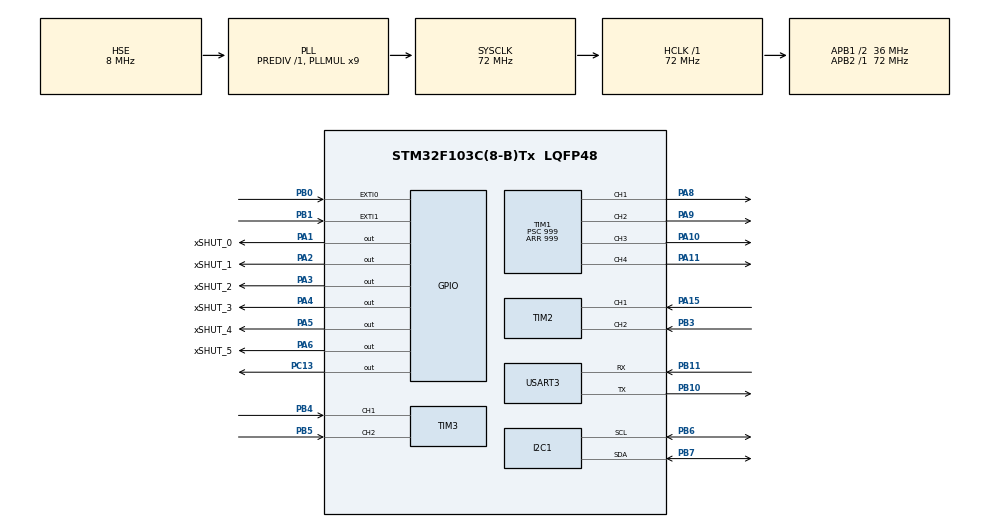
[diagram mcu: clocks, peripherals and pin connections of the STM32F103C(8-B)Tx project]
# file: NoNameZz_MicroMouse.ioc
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Mcu.Family=STM32F1
Mcu.Name=STM32F103C(8-B)Tx
Mcu.Package=LQFP48
NVIC.EXTI0_IRQn=true\:0\:0\:false\:false\:true\:true\:true\:true
NVIC.EXTI1_IRQn=true\:0\:0\:false\:false\:true\:true\:true\:true
NVIC.PriorityGroup=NVIC_PRIORITYGROUP_4
NVIC.TIM2_IRQn=true\:0\:0\:false\:false\:true\:true\:true\:true
NVIC.TIM3_IRQn=true\:0\:0\:false\:false\:true\:true\:true\:true
PA1.GPIO_Label=xSHUT_0
PA1.GPIO_PuPd=GPIO_PULLUP
PA1.Signal=GPIO_Output
PA10.Signal=S_TIM1_CH3
PA11.Signal=S_TIM1_CH4
PA13.Mode=Serial_Wire
PA13.Signal=SYS_JTMS-SWDIO
PA14.Mode=Serial_Wire
PA14.Signal=SYS_JTCK-SWCLK
PA15.GPIO_ModeDefaultPP=GPIO_MODE_AF_PP
PA15.GPIO_Speed=GPIO_SPEED_FREQ_LOW
PA15.Signal=S_TIM2_CH1_ETR
PA2.GPIO_Label=xSHUT_1
PA2.GPIO_PuPd=GPIO_PULLUP
PA2.Signal=GPIO_Output
PA3.GPIO_Label=xSHUT_2
PA3.GPIO_PuPd=GPIO_PULLUP
PA3.Signal=GPIO_Output
PA4.GPIO_Label=xSHUT_3
PA4.GPIO_PuPd=GPIO_PULLUP
PA4.Signal=GPIO_Output
PA5.GPIO_Label=xSHUT_4
PA5.GPIO_PuPd=GPIO_PULLUP
PA5.Signal=GPIO_Output
PA6.GPIO_Label=xSHUT_5
PA6.GPIO_PuPd=GPIO_PULLUP
PA6.Signal=GPIO_Output
PA8.Signal=S_TIM1_CH1
PA9.Signal=S_TIM1_CH2
PB0.GPIO_ModeDefaultEXTI=GPIO_MODE_IT_FALLING
PB0.GPIO_PuPd=GPIO_PULLUP
PB0.Signal=GPXTI0
PB1.GPIO_ModeDefaultEXTI=GPIO_MODE_IT_FALLING
PB1.GPIO_PuPd=GPIO_PULLUP
PB1.Signal=GPXTI1
PB10.Mode=Asynchronous
PB10.Signal=USART3_TX
PB11.Mode=Asynchronous
PB11.Signal=USART3_RX
PB3.GPIO_ModeDefaultPP=GPIO_MODE_AF_PP
PB3.GPIO_Speed=GPIO_SPEED_FREQ_LOW
PB3.Signal=S_TIM2_CH2
PB4.Signal=S_TIM3_CH1
PB5.Signal=S_TIM3_CH2
PB6.Mode=I2C
PB6.Signal=I2C1_SCL
PB7.Mode=I2C
PB7.Signal=I2C1_SDA
PC13-TAMPER-RTC.Signal=GPIO_Output
PD0-OSC_IN.Mode=HSE-External-Oscillator
PD0-OSC_IN.Signal=RCC_OSC_IN
PD1-OSC_OUT.Mode=HSE-External-Oscillator
PD1-OSC_OUT.Signal=RCC_OSC_OUT
ProjectManager.HeapSize=0x200
ProjectManager.StackSize=0x400
ProjectManager.TargetToolchain=STM32CubeIDE
RCC.ADCPresc=RCC_ADCPCLK2_DIV6
RCC.AHBFreq_Value=72000000
RCC.APB1CLKDivider=RCC_HCLK_DIV2
RCC.APB1Freq_Value=36000000
RCC.APB1TimFreq_Value=72000000
RCC.APB2Freq_Value=72000000
RCC.APB2TimFreq_Value=72000000
RCC.HCLKFreq_Value=72000000
RCC.PLLMUL=RCC_PLL_MUL9
RCC.PLLSourceVirtual=RCC_PLLSOURCE_HSE
RCC.SYSCLKFreq_VALUE=72000000
RCC.SYSCLKSource=RCC_SYSCLKSOURCE_PLLCLK
RCC.USBFreq_Value=72000000
SH.S_TIM1_CH1.0=TIM1_CH1,PWM Generation1 CH1
SH.S_TIM1_CH2.0=TIM1_CH2,PWM Generation2 CH2
SH.S_TIM1_CH3.0=TIM1_CH3,PWM Generation3 CH3
SH.S_TIM1_CH4.0=TIM1_CH4,PWM Generation4 CH4
SH.S_TIM2_CH1_ETR.0=TIM2_CH1,Encoder_Interface
SH.S_TIM2_CH2.0=TIM2_CH2,Encoder_Interface
SH.S_TIM3_CH1.0=TIM3_CH1,Encoder_Interface
SH.S_TIM3_CH2.0=TIM3_CH2,Encoder_Interface
TIM1.AutoReloadPreload=TIM_AUTORELOAD_PRELOAD_ENABLE
TIM1.Channel-PWM\ Generation1\ CH1=TIM_CHANNEL_1
TIM1.Channel-PWM\ Generation2\ CH2=TIM_CHANNEL_2
TIM1.Channel-PWM\ Generation3\ CH3=TIM_CHANNEL_3
TIM1.Channel-PWM\ Generation4\ CH4=TIM_CHANNEL_4
TIM1.Period=999
TIM1.Prescaler=999
TIM2.ClockDivision=TIM_CLOCKDIVISION_DIV1
TIM2.EncoderMode=TIM_ENCODERMODE_TI1
TIM2.IC1Filter=0
TIM2.IC2Filter=0
TIM2.IC2Prescaler=TIM_ICPSC_DIV1
TIM3.ClockDivision=TIM_CLOCKDIVISION_DIV1
TIM3.CounterMode=TIM_COUNTERMODE_UP
TIM3.EncoderMode=TIM_ENCODERMODE_TI1
TIM3.IC1Filter=0
TIM3.IC2Filter=0
USART3.VirtualMode=VM_ASYNC
VP_TIM1_VS_ClockSourceINT.Mode=Internal
board=custom

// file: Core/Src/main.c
/* USER CODE BEGIN Header */
/**
 ******************************************************************************
 * @file           : main.c
 * @brief          : Main program body
 ******************************************************************************
 * @attention
 *
 * Copyright (c) 2023 STMicroelectronics.
 * All rights reserved.
 *
 * This software is licensed under terms that can be found in the LICENSE file
 * in the root directory of this software component.
 * If no LICENSE file comes with this software, it is provided AS-IS.
 *
 ******************************************************************************
 */
/* USER CODE END Header */
#include "main.h"

I2C_HandleTypeDef hi2c1;

TIM_HandleTypeDef htim1;
TIM_HandleTypeDef htim2;
TIM_HandleTypeDef htim3;

UART_HandleTypeDef huart3;

void SystemClock_Config(void);
static void MX_GPIO_Init(void);
static void MX_TIM1_Init(void);
static void MX_TIM2_Init(void);
static void MX_TIM3_Init(void);
static void MX_I2C1_Init(void);
static void MX_USART3_UART_Init(void);
/* USER CODE BEGIN PFP */
#define running_left_motor(mode, speed){\
	if(mode == 0){ \
		__HAL_TIM_SET_COMPARE(&htim1, TIM_CHANNEL_3, 0); \
		__HAL_TIM_SET_COMPARE(&htim1, TIM_CHANNEL_4, speed); \
	} else { \
		__HAL_TIM_SET_COMPARE(&htim1, TIM_CHANNEL_3, speed); \
		__HAL_TIM_SET_COMPARE(&htim1, TIM_CHANNEL_4, 0); \
	} \
}

#define running_right_motor(mode, speed) \
	if(mode == 0){ \
		__HAL_TIM_SET_COMPARE(&htim1, TIM_CHANNEL_1, speed); \
		__HAL_TIM_SET_COMPARE(&htim1, TIM_CHANNEL_2, 0); \
	} else { \
		__HAL_TIM_SET_COMPARE(&htim1, TIM_CHANNEL_1, 0); \
		__HAL_TIM_SET_COMPARE(&htim1, TIM_CHANNEL_2, speed); \
	\
}
/* USER CODE END PFP */

/* USER CODE BEGIN 0 */
const uint8_t starting_coordinates[2] = { 5, 9 }; //{5, 9}
const uint8_t ending_coordinates[2] = { 5, 2 }; //{4, 0}
const int32_t speed_levels[3][2] = {{0, 0}, {550, 600}, {700, 750}};
double P_params[3][2] = {{0, 0}, {1, 5}, {1, 5}};
uint8_t maze[grid_size][grid_size];
bool visited[grid_size][grid_size];

volatile uint8_t current_speed;
volatile uint8_t Rmode;
volatile int8_t status;
uint8_t found_path;
int a, b, c, d, e;
int t1, t2, t3, t4;
uint16_t ts1, ts2, ts3, ts4, ts5, ts6;
uint8_t uart_buffer[50];
uint32_t aaaa;

volatile int8_t status_debug;
const int32_t offset_sensor[n_vl53l0x] = {0, 0, 0, -20000, 10000, 0};
VL53L0X_Dev_t MyDevice[n_vl53l0x];
VL53L0X_Dev_t *pMyDevice[n_vl53l0x];
VL53L0X_Version_t Version[n_vl53l0x];
VL53L0X_Version_t *pVersion[n_vl53l0x];
VL53L0X_DeviceInfo_t DeviceInfo[n_vl53l0x];

void sensor_init(){
	HAL_GPIO_WritePin(GPIOA, xSHUT_0_Pin|xSHUT_1_Pin|xSHUT_2_Pin|xSHUT_3_Pin
            |xSHUT_4_Pin|xSHUT_5_Pin, GPIO_PIN_RESET);
	HAL_Delay(100);
	uint8_t addr = 0x54;
	for(int i = 0 ; i < n_vl53l0x; i++){
		pMyDevice[i] = &MyDevice[i];
		pMyDevice[i]->I2cDevAddr      = 0x52;
		pMyDevice[i]->comms_type      =  1;
		pMyDevice[i]->comms_speed_khz =  100;
		pMyDevice[i]->I2cHandle = &hi2c1;
		pVersion[i] = &Version[i];
		HAL_GPIO_WritePin(GPIOA, ((uint16_t)0x0002) << i, GPIO_PIN_SET);
		HAL_Delay(10);
		status_debug = vl53l0x_init(pMyDevice[i], pVersion[i], &DeviceInfo[i], addr);
		VL53L0X_SetOffsetCalibrationDataMicroMeter(pMyDevice[i], offset_sensor[i]);
		HAL_Delay(10);
		addr+=2;
		if(status_debug != VL53L0X_ERROR_NONE)
			break;
	}
}

/* USER CODE END 0 */

int main(void)
{

  /* MCU Configuration--------------------------------------------------------*/

  /* Reset of all peripherals, Initializes the Flash interface and the Systick. */
  HAL_Init();

  /* Configure the system clock */
  SystemClock_Config();

  /* Initialize all configured peripherals */
  MX_GPIO_Init();
  MX_TIM1_Init();
  MX_TIM2_Init();
  MX_TIM3_Init();
  MX_I2C1_Init();
  MX_USART3_UART_Init();
  /* USER CODE BEGIN 2 */
  	HAL_TIM_PWM_Start(&htim1, TIM_CHANNEL_1);
  	HAL_TIM_PWM_Start(&htim1, TIM_CHANNEL_2);
  	HAL_TIM_PWM_Start(&htim1, TIM_CHANNEL_3);
  	HAL_TIM_PWM_Start(&htim1, TIM_CHANNEL_4);
  	HAL_TIM_Encoder_Start(&htim2, TIM_CHANNEL_ALL);
  	HAL_TIM_Base_Start_IT(&htim2);
  	HAL_TIM_Encoder_Start(&htim3, TIM_CHANNEL_ALL);
  	HAL_TIM_Base_Start_IT(&htim3);
	HAL_Delay(2000);

	Rmode = 0;
	status = 0;
	__HAL_TIM_SET_COMPARE(&htim1, TIM_CHANNEL_1, htim1.Init.Period);
	__HAL_TIM_SET_COMPARE(&htim1, TIM_CHANNEL_2, htim1.Init.Period);
	__HAL_TIM_SET_COMPARE(&htim1, TIM_CHANNEL_3, htim1.Init.Period);
	__HAL_TIM_SET_COMPARE(&htim1, TIM_CHANNEL_4, htim1.Init.Period);
	#if debug == 1
		sprintf((char*)uart_buffer, "uart send data\n");
		HAL_UART_Transmit(&huart3, uart_buffer, sizeof (uart_buffer), 10);
	#endif
	HAL_Delay(2000);
	sensor_init();
	if(status_debug == VL53L0X_ERROR_NONE){
		HAL_GPIO_WritePin(GPIOC, GPIO_PIN_13, GPIO_PIN_SET);
	}
  /* USER CODE END 2 */

  /* Infinite loop */
  /* USER CODE BEGIN WHILE */
	while (1) {
		#if debug == 1
			c = HAL_GetTick();
			vl53l0x_GetRanging_now(pMyDevice[0], &ts1);
			vl53l0x_GetRanging_now(pMyDevice[1], &ts2);
			vl53l0x_GetRanging_now(pMyDevice[2], &ts3);
			vl53l0x_GetRanging_now(pMyDevice[3], &ts4);
			vl53l0x_GetRanging_now(pMyDevice[4], &ts5);
			vl53l0x_GetRanging_now(pMyDevice[5], &ts6);
			d = HAL_GetTick();
			sprintf((char*)uart_buffer, "%d\n", d - c);
			HAL_UART_Transmit(&huart3, uart_buffer, sizeof (uart_buffer), 10);
			a = TIM2->CNT;
			b = TIM3->CNT;
			VL53L0X_GetLimitCheckValue(pMyDevice[0], VL53L0X_CHECKENABLE_SIGNAL_RATE_MSRC, &aaaa);
		#endif
    /* USER CODE END WHILE */

    /* USER CODE BEGIN 3 */
		if (Rmode == 1) {
			HAL_NVIC_DisableIRQ(EXTI0_IRQn);
			HAL_NVIC_DisableIRQ(EXTI1_IRQn);
			HAL_Delay(1000);

			found_path = 0;
			go_straight(300, 0, -3);
			start_fill();
			if(found_path == 1){
				HAL_GPIO_WritePin(GPIOC, GPIO_PIN_13, GPIO_PIN_RESET);
				OPPath();
				//findShortestPath();
				HAL_GPIO_WritePin(GPIOC, GPIO_PIN_13, GPIO_PIN_SET);
			}

			HAL_NVIC_EnableIRQ(EXTI0_IRQn);
			HAL_NVIC_EnableIRQ(EXTI1_IRQn);
			Rmode = 0;
		}
		if (Rmode == 2) {
			HAL_NVIC_DisableIRQ(EXTI0_IRQn);
			HAL_NVIC_DisableIRQ(EXTI1_IRQn);
			HAL_Delay(1000);
			go_straight(300, 0, -3);
			running_OPPath();
			//running();
			HAL_NVIC_EnableIRQ(EXTI0_IRQn);
			HAL_NVIC_EnableIRQ(EXTI1_IRQn);
			Rmode = 0;
		}
	}
  /* USER CODE END 3 */
}

void SystemClock_Config(void)
{
  RCC_OscInitTypeDef RCC_OscInitStruct = {0};
  RCC_ClkInitTypeDef RCC_ClkInitStruct = {0};

  /** Initializes the RCC Oscillators according to the specified parameters
  * in the RCC_OscInitTypeDef structure.
  */
  RCC_OscInitStruct.OscillatorType = RCC_OSCILLATORTYPE_HSE;
  RCC_OscInitStruct.HSEState = RCC_HSE_ON;
  RCC_OscInitStruct.HSEPredivValue = RCC_HSE_PREDIV_DIV1;
  RCC_OscInitStruct.HSIState = RCC_HSI_ON;
  RCC_OscInitStruct.PLL.PLLState = RCC_PLL_ON;
  RCC_OscInitStruct.PLL.PLLSource = RCC_PLLSOURCE_HSE;
  RCC_OscInitStruct.PLL.PLLMUL = RCC_PLL_MUL9;
  if (HAL_RCC_OscConfig(&RCC_OscInitStruct) != HAL_OK)
  {
    Error_Handler();
  }

  /** Initializes the CPU, AHB and APB buses clocks
  */
  RCC_ClkInitStruct.ClockType = RCC_CLOCKTYPE_HCLK|RCC_CLOCKTYPE_SYSCLK
                              |RCC_CLOCKTYPE_PCLK1|RCC_CLOCKTYPE_PCLK2;
  RCC_ClkInitStruct.SYSCLKSource = RCC_SYSCLKSOURCE_PLLCLK;
  RCC_ClkInitStruct.AHBCLKDivider = RCC_SYSCLK_DIV1;
  RCC_ClkInitStruct.APB1CLKDivider = RCC_HCLK_DIV2;
  RCC_ClkInitStruct.APB2CLKDivider = RCC_HCLK_DIV1;

  if (HAL_RCC_ClockConfig(&RCC_ClkInitStruct, FLASH_LATENCY_2) != HAL_OK)
  {
    Error_Handler();
  }
}

static void MX_I2C1_Init(void)
{

  hi2c1.Instance = I2C1;
  hi2c1.Init.ClockSpeed = 100000;
  hi2c1.Init.DutyCycle = I2C_DUTYCYCLE_2;
  hi2c1.Init.OwnAddress1 = 0;
  hi2c1.Init.AddressingMode = I2C_ADDRESSINGMODE_7BIT;
  hi2c1.Init.DualAddressMode = I2C_DUALADDRESS_DISABLE;
  hi2c1.Init.OwnAddress2 = 0;
  hi2c1.Init.GeneralCallMode = I2C_GENERALCALL_DISABLE;
  hi2c1.Init.NoStretchMode = I2C_NOSTRETCH_DISABLE;
  if (HAL_I2C_Init(&hi2c1) != HAL_OK)
  {
    Error_Handler();
  }

}

static void MX_TIM1_Init(void)
{

  TIM_ClockConfigTypeDef sClockSourceConfig = {0};
  TIM_MasterConfigTypeDef sMasterConfig = {0};
  TIM_OC_InitTypeDef sConfigOC = {0};
  TIM_BreakDeadTimeConfigTypeDef sBreakDeadTimeConfig = {0};

  htim1.Instance = TIM1;
  htim1.Init.Prescaler = 999;
  htim1.Init.CounterMode = TIM_COUNTERMODE_UP;
  htim1.Init.Period = 999;
  htim1.Init.ClockDivision = TIM_CLOCKDIVISION_DIV1;
  htim1.Init.RepetitionCounter = 0;
  htim1.Init.AutoReloadPreload = TIM_AUTORELOAD_PRELOAD_ENABLE;
  if (HAL_TIM_Base_Init(&htim1) != HAL_OK)
  {
    Error_Handler();
  }
  sClockSourceConfig.ClockSource = TIM_CLOCKSOURCE_INTERNAL;
  if (HAL_TIM_ConfigClockSource(&htim1, &sClockSourceConfig) != HAL_OK)
  {
    Error_Handler();
  }
  if (HAL_TIM_PWM_Init(&htim1) != HAL_OK)
  {
    Error_Handler();
  }
  sMasterConfig.MasterOutputTrigger = TIM_TRGO_RESET;
  sMasterConfig.MasterSlaveMode = TIM_MASTERSLAVEMODE_DISABLE;
  if (HAL_TIMEx_MasterConfigSynchronization(&htim1, &sMasterConfig) != HAL_OK)
  {
    Error_Handler();
  }
  sConfigOC.OCMode = TIM_OCMODE_PWM1;
  sConfigOC.Pulse = 0;
  sConfigOC.OCPolarity = TIM_OCPOLARITY_HIGH;
  sConfigOC.OCNPolarity = TIM_OCNPOLARITY_HIGH;
  sConfigOC.OCFastMode = TIM_OCFAST_DISABLE;
  sConfigOC.OCIdleState = TIM_OCIDLESTATE_RESET;
  sConfigOC.OCNIdleState = TIM_OCNIDLESTATE_RESET;
  if (HAL_TIM_PWM_ConfigChannel(&htim1, &sConfigOC, TIM_CHANNEL_1) != HAL_OK)
  {
    Error_Handler();
  }
  if (HAL_TIM_PWM_ConfigChannel(&htim1, &sConfigOC, TIM_CHANNEL_2) != HAL_OK)
  {
    Error_Handler();
  }
  if (HAL_TIM_PWM_ConfigChannel(&htim1, &sConfigOC, TIM_CHANNEL_3) != HAL_OK)
  {
    Error_Handler();
  }
  if (HAL_TIM_PWM_ConfigChannel(&htim1, &sConfigOC, TIM_CHANNEL_4) != HAL_OK)
  {
    Error_Handler();
  }
  sBreakDeadTimeConfig.OffStateRunMode = TIM_OSSR_DISABLE;
  sBreakDeadTimeConfig.OffStateIDLEMode = TIM_OSSI_DISABLE;
  sBreakDeadTimeConfig.LockLevel = TIM_LOCKLEVEL_OFF;
  sBreakDeadTimeConfig.DeadTime = 0;
  sBreakDeadTimeConfig.BreakState = TIM_BREAK_DISABLE;
  sBreakDeadTimeConfig.BreakPolarity = TIM_BREAKPOLARITY_HIGH;
  sBreakDeadTimeConfig.AutomaticOutput = TIM_AUTOMATICOUTPUT_DISABLE;
  if (HAL_TIMEx_ConfigBreakDeadTime(&htim1, &sBreakDeadTimeConfig) != HAL_OK)
  {
    Error_Handler();
  }
  HAL_TIM_MspPostInit(&htim1);

}

static void MX_TIM2_Init(void)
{

  TIM_Encoder_InitTypeDef sConfig = {0};
  TIM_MasterConfigTypeDef sMasterConfig = {0};

  htim2.Instance = TIM2;
  htim2.Init.Prescaler = 0;
  htim2.Init.CounterMode = TIM_COUNTERMODE_UP;
  htim2.Init.Period = 65535;
  htim2.Init.ClockDivision = TIM_CLOCKDIVISION_DIV1;
  htim2.Init.AutoReloadPreload = TIM_AUTORELOAD_PRELOAD_DISABLE;
  sConfig.EncoderMode = TIM_ENCODERMODE_TI1;
  sConfig.IC1Polarity = TIM_ICPOLARITY_RISING;
  sConfig.IC1Selection = TIM_ICSELECTION_DIRECTTI;
  sConfig.IC1Prescaler = TIM_ICPSC_DIV1;
  sConfig.IC1Filter = 0;
  sConfig.IC2Polarity = TIM_ICPOLARITY_RISING;
  sConfig.IC2Selection = TIM_ICSELECTION_DIRECTTI;
  sConfig.IC2Prescaler = TIM_ICPSC_DIV1;
  sConfig.IC2Filter = 0;
  if (HAL_TIM_Encoder_Init(&htim2, &sConfig) != HAL_OK)
  {
    Error_Handler();
  }
  sMasterConfig.MasterOutputTrigger = TIM_TRGO_RESET;
  sMasterConfig.MasterSlaveMode = TIM_MASTERSLAVEMODE_DISABLE;
  if (HAL_TIMEx_MasterConfigSynchronization(&htim2, &sMasterConfig) != HAL_OK)
  {
    Error_Handler();
  }

}

static void MX_TIM3_Init(void)
{

  TIM_Encoder_InitTypeDef sConfig = {0};
  TIM_MasterConfigTypeDef sMasterConfig = {0};

  htim3.Instance = TIM3;
  htim3.Init.Prescaler = 0;
  htim3.Init.CounterMode = TIM_COUNTERMODE_UP;
  htim3.Init.Period = 65535;
  htim3.Init.ClockDivision = TIM_CLOCKDIVISION_DIV1;
  htim3.Init.AutoReloadPreload = TIM_AUTORELOAD_PRELOAD_DISABLE;
  sConfig.EncoderMode = TIM_ENCODERMODE_TI1;
  sConfig.IC1Polarity = TIM_ICPOLARITY_RISING;
  sConfig.IC1Selection = TIM_ICSELECTION_DIRECTTI;
  sConfig.IC1Prescaler = TIM_ICPSC_DIV1;
  sConfig.IC1Filter = 0;
  sConfig.IC2Polarity = TIM_ICPOLARITY_RISING;
  sConfig.IC2Selection = TIM_ICSELECTION_DIRECTTI;
  sConfig.IC2Prescaler = TIM_ICPSC_DIV1;
  sConfig.IC2Filter = 0;
  if (HAL_TIM_Encoder_Init(&htim3, &sConfig) != HAL_OK)
  {
    Error_Handler();
  }
  sMasterConfig.MasterOutputTrigger = TIM_TRGO_RESET;
  sMasterConfig.MasterSlaveMode = TIM_MASTERSLAVEMODE_DISABLE;
  if (HAL_TIMEx_MasterConfigSynchronization(&htim3, &sMasterConfig) != HAL_OK)
  {
    Error_Handler();
  }

}

static void MX_USART3_UART_Init(void)
{

  huart3.Instance = USART3;
  huart3.Init.BaudRate = 115200;
  huart3.Init.WordLength = UART_WORDLENGTH_8B;
  huart3.Init.StopBits = UART_STOPBITS_1;
  huart3.Init.Parity = UART_PARITY_NONE;
  huart3.Init.Mode = UART_MODE_TX_RX;
  huart3.Init.HwFlowCtl = UART_HWCONTROL_NONE;
  huart3.Init.OverSampling = UART_OVERSAMPLING_16;
  if (HAL_UART_Init(&huart3) != HAL_OK)
  {
    Error_Handler();
  }

}

static void MX_GPIO_Init(void)
{
  GPIO_InitTypeDef GPIO_InitStruct = {0};

  /* GPIO Ports Clock Enable */
  __HAL_RCC_GPIOC_CLK_ENABLE();
  __HAL_RCC_GPIOD_CLK_ENABLE();
  __HAL_RCC_GPIOA_CLK_ENABLE();
  __HAL_RCC_GPIOB_CLK_ENABLE();

  /*Configure GPIO pin Output Level */
  HAL_GPIO_WritePin(GPIOC, GPIO_PIN_13, GPIO_PIN_RESET);

  /*Configure GPIO pin Output Level */
  HAL_GPIO_WritePin(GPIOA, xSHUT_0_Pin|xSHUT_1_Pin|xSHUT_2_Pin|xSHUT_3_Pin
                          |xSHUT_4_Pin|xSHUT_5_Pin, GPIO_PIN_RESET);

  /*Configure GPIO pin : PC13 */
  GPIO_InitStruct.Pin = GPIO_PIN_13;
  GPIO_InitStruct.Mode = GPIO_MODE_OUTPUT_PP;
  GPIO_InitStruct.Pull = GPIO_NOPULL;
  GPIO_InitStruct.Speed = GPIO_SPEED_FREQ_LOW;
  HAL_GPIO_Init(GPIOC, &GPIO_InitStruct);

  /*Configure GPIO pins : xSHUT_0_Pin xSHUT_1_Pin xSHUT_2_Pin xSHUT_3_Pin
                           xSHUT_4_Pin xSHUT_5_Pin */
  GPIO_InitStruct.Pin = xSHUT_0_Pin|xSHUT_1_Pin|xSHUT_2_Pin|xSHUT_3_Pin
                          |xSHUT_4_Pin|xSHUT_5_Pin;
  GPIO_InitStruct.Mode = GPIO_MODE_OUTPUT_PP;
  GPIO_InitStruct.Pull = GPIO_PULLUP;
  GPIO_InitStruct.Speed = GPIO_SPEED_FREQ_LOW;
  HAL_GPIO_Init(GPIOA, &GPIO_InitStruct);

  /*Configure GPIO pins : PB0 PB1 */
  GPIO_InitStruct.Pin = GPIO_PIN_0|GPIO_PIN_1;
  GPIO_InitStruct.Mode = GPIO_MODE_IT_FALLING;
  GPIO_InitStruct.Pull = GPIO_PULLUP;
  HAL_GPIO_Init(GPIOB, &GPIO_InitStruct);

  /* EXTI interrupt init*/
  HAL_NVIC_SetPriority(EXTI0_IRQn, 0, 0);
  HAL_NVIC_EnableIRQ(EXTI0_IRQn);

  HAL_NVIC_SetPriority(EXTI1_IRQn, 0, 0);
  HAL_NVIC_EnableIRQ(EXTI1_IRQn);

}

/* USER CODE BEGIN 4 */
int __io_putchar(int ch) {
    ITM_SendChar(ch);
    return ch;
}
/* USER CODE END 4 */

void Error_Handler(void)
{
	__disable_irq();
	while (1) {
	}
}
